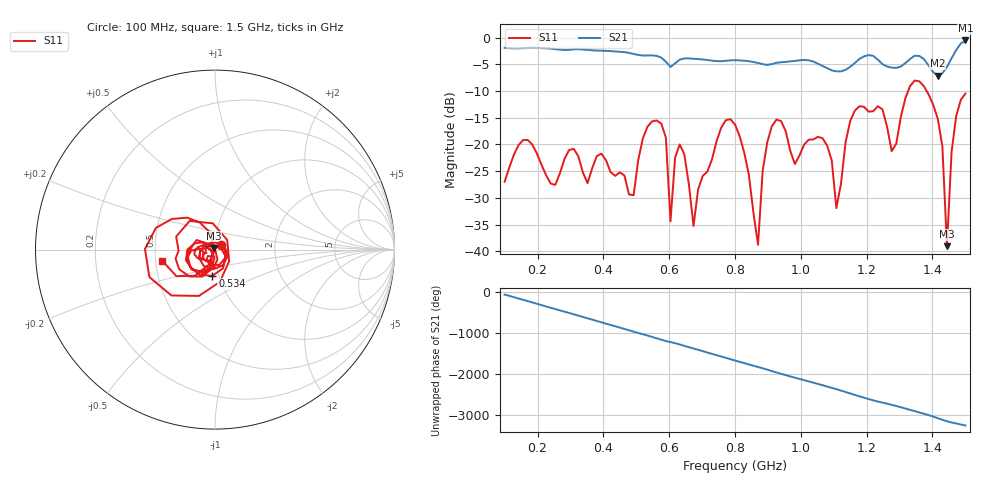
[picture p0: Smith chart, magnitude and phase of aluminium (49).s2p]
! NanoVNA-App
! Date: 2025-09-26 09:58:26
! Start: 100MHz Stop: 1,5GHz Points: 101
! S-Parameter data: F S11 S21 S12 S22
# Hz S RI R 50
!  Frequency  S11_Real  S11_Imag  S21_Real  S21_Imag  S12_Real  S12_Imag  S22_Real  S22_Imag
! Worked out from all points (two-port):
!   101 points, 100 MHz to 1.5 GHz, reference 50 ohm
!   highest |S21| = -0.53 dB at 1.5 GHz (marker M1); lowest = -7.1 dB at 1.416 GHz (marker M2)
!   |S21| within 3 dB of the highest: start of sweep to 567.1 MHz; 1.191 GHz to 1.222 GHz (30.87 MHz wide, 2.56 % of centre) (the widest 2 of 4)
!   lowest |S11| = -39.0 dB at 1.444 GHz (marker M3), VSWR 1.02, Z = 49.4 + j0.914 ohm
!   |S11| at or under -10 dB: start of sweep to 1.326 GHz; 1.382 GHz to end of sweep
!   S12 and S22 are empty: the file has one direction only
!   S11 on the Smith chart (normalised r, x): 100 MHz: 1.07, +0.06; 534 MHz: 0.93, -0.28; 1.5 GHz: 0.54, -0.08
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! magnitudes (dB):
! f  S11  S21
! 100 MHz  -27.0  -1.9
! 156 MHz  -19.2  -2.0
! 338 MHz  -25.3  -2.2
! 492 MHz  -29.5  -3.1
! 534 MHz  -16.7  -3.3
! 576 MHz  -16.1  -3.7
! 604 MHz  -34.4  -5.5
! 632 MHz  -20.0  -4.1
! 674 MHz  -35.3  -4.0
! 800 MHz  -16.3  -4.2
! 870 MHz  -38.8  -4.7
! 912 MHz  -16.6  -5.0
! 1.038 GHz  -19.1  -4.5
! 1.108 GHz  -31.9  -6.3
! 1.164 GHz  -13.7  -4.8
! 1.276 GHz  -21.2  -5.6
! 1.346 GHz  -8.0  -3.4
! 1.416 GHz  -15.2  -7.1
! 1.43 GHz  -20.3  -6.7
! 1.444 GHz  -39.0  -5.5
! 1.458 GHz  -21.4  -3.9
! 1.5 GHz  -10.5  -0.5
